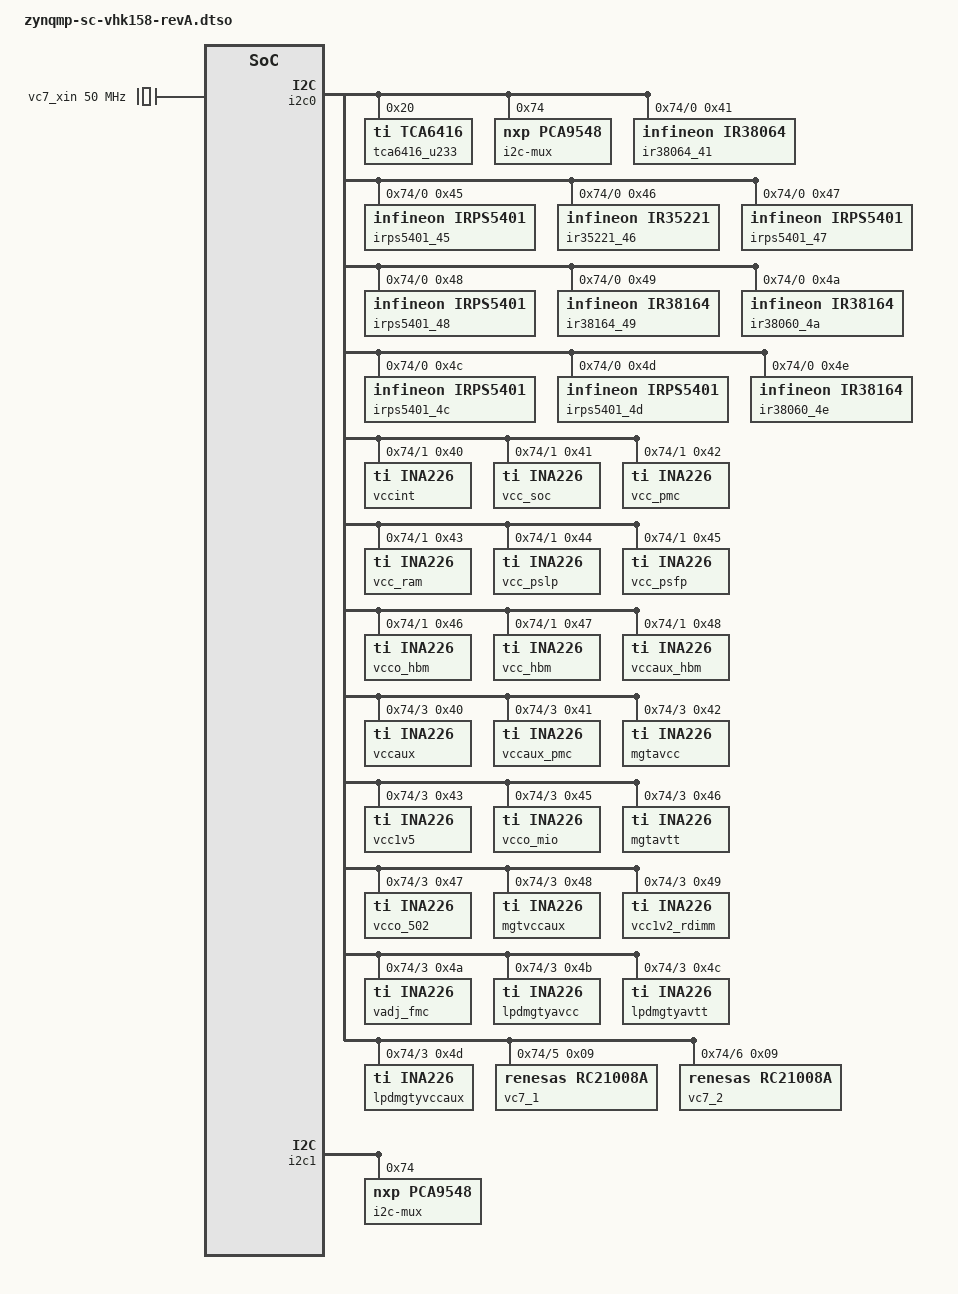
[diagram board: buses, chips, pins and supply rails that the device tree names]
// SPDX-License-Identifier: GPL-2.0
/*
 * dts file for Xilinx ZynqMP VHK158 revA
 *
 * (C) Copyright 2022, Xilinx, Inc.
 * (C) Copyright 2022 - 2023, Advanced Micro Devices, Inc.
 *
 * Michal Simek <michal.simek@amd.com>
 */

#include <dt-bindings/gpio/gpio.h>

/dts-v1/;
/plugin/;

&{/} {
	compatible = "xlnx,zynqmp-sc-vhk158-revA", "xlnx,zynqmp-vhk158-revA",
		     "xlnx,zynqmp-vhk158", "xlnx,zynqmp";

	vc7_xin: vc7-xin {
		compatible = "fixed-clock";
		#clock-cells = <0>;
		clock-frequency = <50000000>;
	};
};

&i2c0 {
	#address-cells = <1>;
	#size-cells = <0>;

	tca6416_u233: gpio@20 { /* u233 */
		compatible = "ti,tca6416";
		reg = <0x20>;
		gpio-controller; /* interrupt not connected */
		#gpio-cells = <2>;
		gpio-line-names = "", "", "QSFPDD1_MODSELL", "QSFPDD2_MODSELL", /* 0 - 3 */
				"PMBUS2_INA226_ALERT", "", "", "", /* 4 - 7 */
				"FMCP1_FMC_PRSNT_M2C_B", "", "FMCP1_FMCP_PRSNT_M2C_B", "", /* 10 - 13 */
				"VCCINT_VRHOT_B", "8A34001_EXP_RST_B", "PMBUS_ALERT", "PMBUS1_INA226_ALERT"; /* 14 - 17 */
	};

	i2c-mux@74 { /* u33 */
		compatible = "nxp,pca9548";
		#address-cells = <1>;
		#size-cells = <0>;
		reg = <0x74>;
		/* reset-gpios = <&gpio SYSCTLR_IIC_MUX0_RESET_B GPIO_ACTIVE_HIGH>; */
		pmbus_i2c: i2c@0 {
			#address-cells = <1>;
			#size-cells = <0>;
			reg = <0>;
			/* On connector J325 */
			ir38064_41: regulator@41 { /* IR38064 - u294 */
				compatible = "infineon,ir38064";
				reg = <0x41>; /* i2c addr 0x11 */
			};
			irps5401_45: pmic5401@45 { /* IRPS5401 - u280 */
				compatible = "infineon,irps5401";
				reg = <0x45>; /* i2c addr 0x15 */
			};
			ir35221_46: pmic@46 { /* IR35221 - u152 */
				compatible = "infineon,ir35221";
				reg = <0x46>; /* i2c addr - 0x16 */
			};
			irps5401_47: pmic5401@47 { /* IRPS5401 - u160 */
				compatible = "infineon,irps5401";
				reg = <0x47>; /* i2c addr 0x17 */
			};
			irps5401_48: regulator@48 { /* IRPS5401 - u279 */
				compatible = "infineon,irps5401";
				reg = <0x48>; /* i2c addr 0x18 */
			};
			ir38164_49: regulator@49 { /* IR38164 - u295 */
				compatible = "infineon,ir38164";
				reg = <0x49>; /* i2c addr 0x19 */
			};
			ir38060_4a: regulator@4a { /* IR38060 - u259 */
				compatible = "infineon,ir38164";
				reg = <0x4a>; /* i2c addr 0x1a */
			};
			irps5401_4c: pmic@4c { /* IRPS5401 - u167 */
				compatible = "infineon,irps5401";
				reg = <0x4c>; /* i2c addr 0x1c */
			};
			irps5401_4d: pmic@4d { /* IRPS5401 - u175 */
				compatible = "infineon,irps5401";
				reg = <0x4d>; /* i2c addr 0x1d */
			};
			ir38060_4e: regulator@4e { /* IR38060 - u282 */
				compatible = "infineon,ir38164";
				reg = <0x4e>; /* i2c addr 0x1e */
			};
		};
		pmbus1_ina226_i2c: i2c@1 {
			#address-cells = <1>;
			#size-cells = <0>;
			reg = <1>;
			/* FIXME check alerts coming to SC */
			vccint: ina226@40 { /* u65 */
				compatible = "ti,ina226";
				reg = <0x40>;
				shunt-resistor = <500>; /* R440 */
			};
			vcc_soc: ina226@41 { /* u161 */
				compatible = "ti,ina226";
				reg = <0x41>;
				shunt-resistor = <500>; /* R1702 */
			};
			vcc_pmc: ina226@42 { /* u163 */
				compatible = "ti,ina226";
				reg = <0x42>;
				shunt-resistor = <5000>; /* R382 */
			};
			vcc_ram: ina226@43 { /* u5 */
				compatible = "ti,ina226";
				reg = <0x43>;
				shunt-resistor = <500>; /* R121 */
			};
			vcc_pslp: ina226@44 { /* u165 */
				compatible = "ti,ina226";
				reg = <0x44>;
				shunt-resistor = <5000>; /* R1830 */
			};
			vcc_psfp: ina226@45 { /* u260 */
				compatible = "ti,ina226";
				reg = <0x45>;
				shunt-resistor = <5000>; /* R1834 */
			};
			vcco_hbm: ina226@46 { /* u164 */
				compatible = "ti,ina226";
				reg = <0x46>;
				shunt-resistor = <500>; /* R2056 */
			};
			vcc_hbm: ina226@47 { /* u307 */
				compatible = "ti,ina226";
				reg = <0x47>;
				shunt-resistor = <500>; /* R2068 */
			};
			vccaux_hbm: ina226@48 { /* u308 */
				compatible = "ti,ina226";
				reg = <0x48>;
				shunt-resistor = <5000>; /* R2019 */
			};
		};
		i2c@2 { /* NC */ /* FIXME maybe remove */
			#address-cells = <1>;
			#size-cells = <0>;
			reg = <2>;
		};
		pmbus2_ina226_i2c: i2c@3 {
			#address-cells = <1>;
			#size-cells = <0>;
			reg = <3>;
			/* FIXME check alerts coming to SC */
			vccaux: ina226@40 { /* u166 */
				compatible = "ti,ina226";
				reg = <0x40>;
				shunt-resistor = <5000>; /* R2060 */
			};
			vccaux_pmc: ina226@41 { /* u168 */
				compatible = "ti,ina226";
				reg = <0x41>;
				shunt-resistor = <500>; /* R2000 */
			};
			mgtavcc: ina226@42 { /* u265 */
				compatible = "ti,ina226";
				reg = <0x42>;
				shunt-resistor = <500>; /* R1829 */
			};
			vcc1v5: ina226@43 { /* u264 */
				compatible = "ti,ina226";
				reg = <0x43>;
				shunt-resistor = <500>; /* R1221 */
			};
			vcco_mio: ina226@45 { /* u172 */
				compatible = "ti,ina226";
				reg = <0x45>;
				shunt-resistor = <500>; /* R2015 */
			};
			mgtavtt: ina226@46 { /* u188 */
				compatible = "ti,ina226";
				reg = <0x46>;
				shunt-resistor = <500>; /* R1384 */
			};
			vcco_502: ina226@47 { /* u174 */
				compatible = "ti,ina226";
				reg = <0x47>;
				shunt-resistor = <500>; /* R1994 */
			};
			mgtvccaux: ina226@48 { /* u176 */
				compatible = "ti,ina226";
				reg = <0x48>;
				shunt-resistor = <500>; /* R1232 */
			};
			vcc1v2_rdimm: ina226@49 { /* u306 */
				compatible = "ti,ina226";
				reg = <0x49>;
				shunt-resistor = <500>; /* R2064 */
			};
			vadj_fmc: ina226@4a { /* u281 */
				compatible = "ti,ina226";
				reg = <0x4a>;
				shunt-resistor = <5000>; /* R2031 */
			};
			lpdmgtyavcc: ina226@4b { /* u177 */
				compatible = "ti,ina226";
				reg = <0x4b>;
				shunt-resistor = <500>; /* R2004 */
			};
			lpdmgtyavtt: ina226@4c { /* u309 */
				compatible = "ti,ina226";
				reg = <0x4c>;
				shunt-resistor = <500>; /* R1229 */
			};
			lpdmgtyvccaux: ina226@4d { /* u234 */
				compatible = "ti,ina226";
				reg = <0x4d>;
				shunt-resistor = <500>; /* R1679 */
			};
		};
		i2c@4 { /* NC */
			#address-cells = <1>;
			#size-cells = <0>;
			reg = <4>;
		};
		rc21008a_gtclk1: i2c@5 {
			#address-cells = <1>;
			#size-cells = <0>;
			reg = <5>;
			vc7_1: clock-generator@9 {
				compatible = "renesas,rc21008a";
				clock-output-names = "rc21008a-0";
				reg = <0x9>;
				#clock-cells = <1>;
				clocks = <&vc7_xin>;
				clock-names = "xin";
			};
			/* i2c@9 - U299 */
		};
		rc21008a_gtclk2: i2c@6 {
			#address-cells = <1>;
			#size-cells = <0>;
			reg = <6>;
			vc7_2: clock-generator@9 {
				compatible = "renesas,rc21008a";
				clock-output-names = "rc21008a-1";
				reg = <0x9>;
				#clock-cells = <1>;
				clocks = <&vc7_xin>;
				clock-names = "xin";
			};
			/* i2c@9 - U300 */
		};
		sync_8a34001: i2c@7 {
			#address-cells = <1>;
			#size-cells = <0>;
			reg = <7>;
			/* U219 - i2c address UNKNOWN */
		};
	};
};

&i2c1 {
	#address-cells = <1>;
	#size-cells = <0>;

	i2c-mux@74 { /* u35 */
		compatible = "nxp,pca9548";
		#address-cells = <1>;
		#size-cells = <0>;
		reg = <0x74>;
		/* reset-gpios = <&gpio SYSCTLR_IIC_MUX1_RESET_B GPIO_ACTIVE_HIGH>; */
		ddr4_dimm0: i2c@0 { /* wired but NC */
			#address-cells = <1>;
			#size-cells = <0>;
			reg = <0>;
		};
		fmcp1_i2c: i2c@1 {
			#address-cells = <1>;
			#size-cells = <0>;
			reg = <1>;
			/* FIXME connection to Samtec J51C */
			/* expected eeprom 0x50 SE cards */
		};
		qsfp1_i2c: i2c@2 {
			#address-cells = <1>;
			#size-cells = <0>;
			reg = <2>;
			/* J350 connector */
		};
		qsfp2_i2c: i2c@3 {
			#address-cells = <1>;
			#size-cells = <0>;
			reg = <3>;
			/* J351 connector */
		};
		qsfp3_i2c: i2c@4 {
			#address-cells = <1>;
			#size-cells = <0>;
			reg = <4>;
			/* J352 connector */
		};
		qsfp4_i2c: i2c@5 {
			#address-cells = <1>;
			#size-cells = <0>;
			reg = <5>;
			/* J353 connector */
		};
		qsfpdd_i2c: i2c@6 {
			#address-cells = <1>;
			#size-cells = <0>;
			reg = <6>;
			/* J1/J2 connectors */
		};
		ddr4_dimm1: i2c@7 { /* wired but NC */
			#address-cells = <1>;
			#size-cells = <0>;
			reg = <7>;
		};
	};
};
